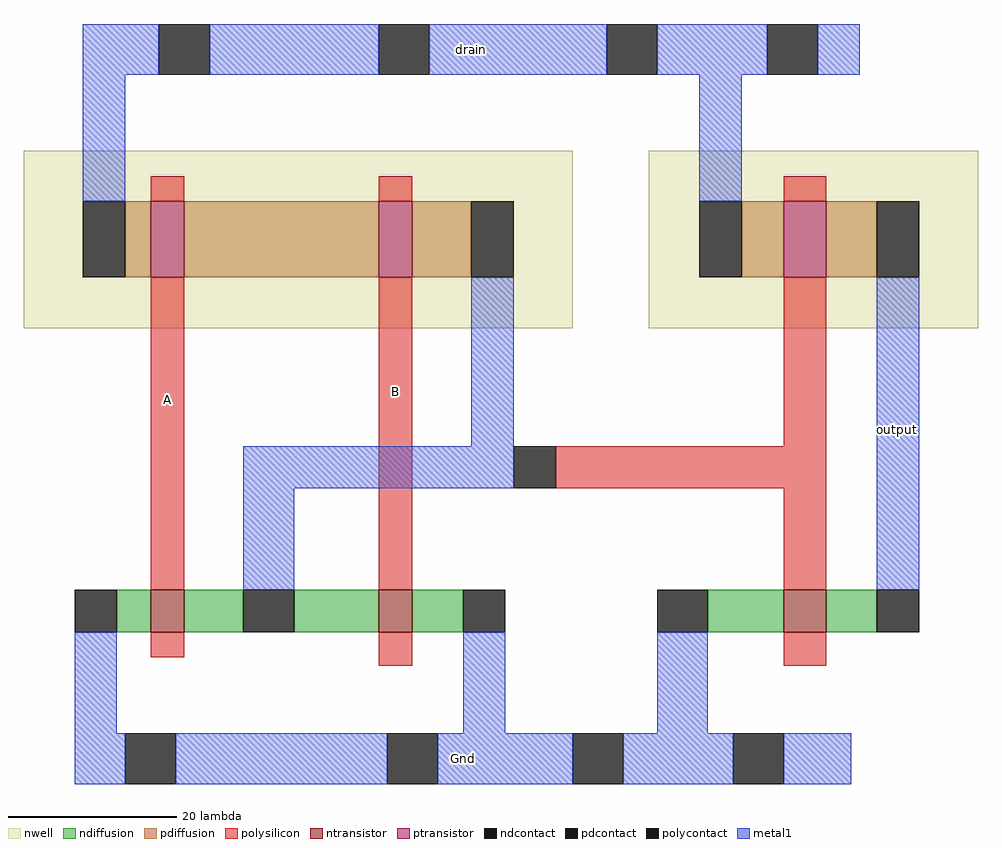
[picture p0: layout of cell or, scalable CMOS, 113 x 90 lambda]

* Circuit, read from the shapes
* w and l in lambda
.subckt or A B Gnd drain output
M1 n1 A Gnd VSUBS nfet w=5 l=4
M2 Gnd B n1 VSUBS nfet w=5 l=4
M3 output n1 Gnd VSUBS nfet w=5 l=5
M4 n2 A drain n3 pfet w=9 l=4
M5 n1 B n2 n3 pfet w=9 l=4
M6 output n1 drain n4 pfet w=9 l=5
.ends

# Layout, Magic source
magic
tech scmos
<< nwell >>
rect -219 1 -154 22
rect -145 1 -106 22
<< ntransistor >>
rect -204 -35 -200 -30
rect -177 -35 -173 -30
rect -129 -35 -124 -30
<< ptransistor >>
rect -204 7 -200 16
rect -177 7 -173 16
rect -129 7 -124 16
<< ndiffusion >>
rect -208 -35 -204 -30
rect -200 -35 -193 -30
rect -187 -35 -177 -30
rect -173 -35 -167 -30
rect -138 -35 -129 -30
rect -124 -35 -118 -30
<< pdiffusion >>
rect -207 7 -204 16
rect -200 7 -177 16
rect -173 7 -166 16
rect -134 7 -129 16
rect -124 7 -118 16
<< ndcontact >>
rect -203 31 -197 37
rect -177 31 -171 37
rect -150 31 -144 37
rect -131 31 -125 37
rect -213 -35 -208 -30
rect -193 -35 -187 -30
rect -167 -35 -162 -30
rect -144 -35 -138 -30
rect -118 -35 -113 -30
<< pdcontact >>
rect -212 7 -207 16
rect -166 7 -161 16
rect -139 7 -134 16
rect -118 7 -113 16
rect -207 -53 -201 -47
rect -176 -53 -170 -47
rect -154 -53 -148 -47
rect -135 -53 -129 -47
<< polysilicon >>
rect -204 16 -200 19
rect -177 16 -173 19
rect -129 16 -124 19
rect -204 -30 -200 7
rect -177 -30 -173 7
rect -129 -13 -124 7
rect -156 -18 -124 -13
rect -129 -30 -124 -18
rect -204 -38 -200 -35
rect -177 -39 -173 -35
rect -129 -39 -124 -35
<< polycontact >>
rect -161 -18 -156 -13
<< metal1 >>
rect -212 31 -203 37
rect -197 31 -177 37
rect -171 31 -150 37
rect -144 31 -131 37
rect -125 31 -120 37
rect -212 16 -207 31
rect -139 16 -134 31
rect -166 -13 -161 7
rect -193 -18 -161 -13
rect -193 -30 -187 -18
rect -118 -30 -113 7
rect -213 -47 -208 -35
rect -167 -47 -162 -35
rect -144 -47 -138 -35
rect -213 -53 -207 -47
rect -201 -53 -176 -47
rect -170 -53 -154 -47
rect -148 -53 -135 -47
rect -129 -53 -121 -47
<< labels >>
rlabel polysilicon -204 -11 -200 -4 1 A
rlabel polysilicon -177 -10 -173 -3 1 B
rlabel metal1 -212 31 -120 37 5 drain
rlabel metal1 -213 -53 -121 -47 1 Gnd
rlabel metal1 -118 -15 -113 -7 1 output
<< end >>
